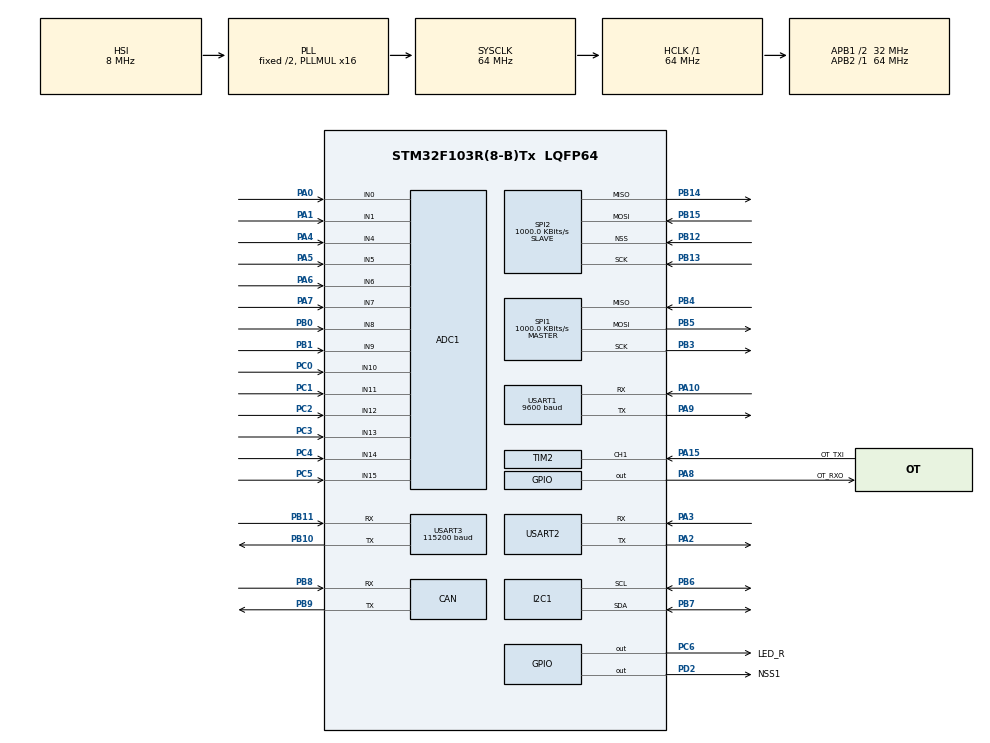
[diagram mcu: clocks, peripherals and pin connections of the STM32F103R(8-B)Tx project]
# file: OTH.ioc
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ADC1.Channel-0\#ChannelRegularConversion=ADC_CHANNEL_0
ADC1.ContinuousConvMode=DISABLE
ADC1.DataAlign=ADC_DATAALIGN_RIGHT
ADC1.DiscontinuousConvMode=DISABLE
ADC1.EnableAnalogWatchDog=false
ADC1.EnableRegularConversion=ENABLE
ADC1.ExternalTrigConv=ADC_SOFTWARE_START
ADC1.InjNumberOfConversion=0
ADC1.NbrOfConversion=1
ADC1.NbrOfConversionFlag=1
ADC1.Rank-0\#ChannelRegularConversion=1
ADC1.SamplingTime-0\#ChannelRegularConversion=ADC_SAMPLETIME_1CYCLE_5
ADC1.ScanConvMode=ADC_SCAN_DISABLE
ADC1.master=1
CAN.BS1=CAN_BS1_1TQ
CAN.BS2=CAN_BS2_1TQ
CAN.CalculateTimeBit=1500
CAN.CalculateTimeQuantum=500.0
Dma.Request0=USART3_TX
Dma.Request1=USART1_TX
Dma.Request2=USART1_RX
Dma.Request3=USART3_RX
Dma.USART1_RX.2.Direction=DMA_PERIPH_TO_MEMORY
Dma.USART1_RX.2.Instance=DMA1_Channel5
Dma.USART1_RX.2.MemDataAlignment=DMA_MDATAALIGN_BYTE
Dma.USART1_RX.2.MemInc=DMA_MINC_ENABLE
Dma.USART1_RX.2.Mode=DMA_NORMAL
Dma.USART1_RX.2.PeriphDataAlignment=DMA_PDATAALIGN_BYTE
Dma.USART1_RX.2.PeriphInc=DMA_PINC_DISABLE
Dma.USART1_RX.2.Priority=DMA_PRIORITY_LOW
Dma.USART1_TX.1.Direction=DMA_MEMORY_TO_PERIPH
Dma.USART1_TX.1.Instance=DMA1_Channel4
Dma.USART1_TX.1.MemDataAlignment=DMA_MDATAALIGN_BYTE
Dma.USART1_TX.1.MemInc=DMA_MINC_ENABLE
Dma.USART1_TX.1.Mode=DMA_NORMAL
Dma.USART1_TX.1.PeriphDataAlignment=DMA_PDATAALIGN_BYTE
Dma.USART1_TX.1.PeriphInc=DMA_PINC_DISABLE
Dma.USART1_TX.1.Priority=DMA_PRIORITY_LOW
Dma.USART3_RX.3.Direction=DMA_PERIPH_TO_MEMORY
Dma.USART3_RX.3.Instance=DMA1_Channel3
Dma.USART3_RX.3.MemDataAlignment=DMA_MDATAALIGN_BYTE
Dma.USART3_RX.3.MemInc=DMA_MINC_ENABLE
Dma.USART3_RX.3.Mode=DMA_NORMAL
Dma.USART3_RX.3.PeriphDataAlignment=DMA_PDATAALIGN_BYTE
Dma.USART3_RX.3.PeriphInc=DMA_PINC_DISABLE
Dma.USART3_RX.3.Priority=DMA_PRIORITY_LOW
Dma.USART3_TX.0.Direction=DMA_MEMORY_TO_PERIPH
Dma.USART3_TX.0.Instance=DMA1_Channel2
Dma.USART3_TX.0.MemDataAlignment=DMA_MDATAALIGN_BYTE
Dma.USART3_TX.0.MemInc=DMA_MINC_ENABLE
Dma.USART3_TX.0.Mode=DMA_NORMAL
Dma.USART3_TX.0.PeriphDataAlignment=DMA_PDATAALIGN_BYTE
Dma.USART3_TX.0.PeriphInc=DMA_PINC_DISABLE
Dma.USART3_TX.0.Priority=DMA_PRIORITY_LOW
Mcu.Family=STM32F1
Mcu.Name=STM32F103R(8-B)Tx
Mcu.Package=LQFP64
NVIC.DMA1_Channel2_IRQn=true\:0\:0\:false\:false\:true\:false
NVIC.DMA1_Channel3_IRQn=true\:0\:0\:false\:false\:true\:false
NVIC.DMA1_Channel4_IRQn=true\:0\:0\:false\:false\:true\:false
NVIC.DMA1_Channel5_IRQn=true\:0\:0\:false\:false\:true\:false
NVIC.PriorityGroup=NVIC_PRIORITYGROUP_4
NVIC.SPI1_IRQn=true\:0\:0\:false\:false\:true\:true
NVIC.SPI2_IRQn=true\:0\:0\:false\:false\:true\:true
NVIC.TIM2_IRQn=true\:0\:0\:false\:false\:true\:true
NVIC.USART1_IRQn=true\:0\:0\:false\:false\:true\:true
NVIC.USART3_IRQn=true\:0\:0\:false\:false\:true\:true
PA0-WKUP.Signal=ADCx_IN0
PA1.Signal=ADCx_IN1
PA10.Mode=Asynchronous
PA10.Signal=USART1_RX
PA13.Mode=Serial_Wire
PA13.Signal=SYS_JTMS-SWDIO
PA14.Mode=Serial_Wire
PA14.Signal=SYS_JTCK-SWCLK
PA15.GPIO_Label=OT_TXI
PA15.Signal=S_TIM2_CH1_ETR
PA2.Mode=Asynchronous
PA2.Signal=USART2_TX
PA3.Mode=Asynchronous
PA3.Signal=USART2_RX
PA4.Signal=ADCx_IN4
PA5.Signal=ADCx_IN5
PA6.Signal=ADCx_IN6
PA7.Signal=ADCx_IN7
PA8.GPIO_Label=OT_RXO
PA8.Signal=GPIO_Output
PA9.Mode=Asynchronous
PA9.Signal=USART1_TX
PB0.Signal=ADCx_IN8
PB1.Signal=ADCx_IN9
PB10.Mode=Asynchronous
PB10.Signal=USART3_TX
PB11.Mode=Asynchronous
PB11.Signal=USART3_RX
PB12.Mode=NSS_Signal_Hard_Input
PB12.Signal=SPI2_NSS
PB13.Mode=Full_Duplex_Slave
PB13.Signal=SPI2_SCK
PB14.Mode=Full_Duplex_Slave
PB14.Signal=SPI2_MISO
PB15.Mode=Full_Duplex_Slave
PB15.Signal=SPI2_MOSI
PB3.Mode=Full_Duplex_Master
PB3.Signal=SPI1_SCK
PB4.Mode=Full_Duplex_Master
PB4.Signal=SPI1_MISO
PB5.Mode=Full_Duplex_Master
PB5.Signal=SPI1_MOSI
PB6.Mode=I2C
PB6.Signal=I2C1_SCL
PB7.Mode=I2C
PB7.Signal=I2C1_SDA
PB8.Mode=Master
PB8.Signal=CAN_RX
PB9.Mode=Master
PB9.Signal=CAN_TX
PC0.Signal=ADCx_IN10
PC1.Signal=ADCx_IN11
PC2.Signal=ADCx_IN12
PC3.Signal=ADCx_IN13
PC4.Signal=ADCx_IN14
PC5.Signal=ADCx_IN15
PC6.GPIO_Label=LED_R
PC6.Signal=GPIO_Output
PD2.GPIO_Label=NSS1
PD2.Signal=GPIO_Output
ProjectManager.HeapSize=0x200
ProjectManager.StackSize=0x400
ProjectManager.TargetToolchain=TrueSTUDIO
RCC.ADCPresc=RCC_ADCPCLK2_DIV6
RCC.AHBFreq_Value=64000000
RCC.APB1CLKDivider=RCC_HCLK_DIV2
RCC.APB1Freq_Value=32000000
RCC.APB1TimFreq_Value=64000000
RCC.APB2Freq_Value=64000000
RCC.APB2TimFreq_Value=64000000
RCC.HCLKFreq_Value=64000000
RCC.PLLMUL=RCC_PLL_MUL16
RCC.SYSCLKFreq_VALUE=64000000
RCC.SYSCLKSource=RCC_SYSCLKSOURCE_PLLCLK
RCC.USBFreq_Value=64000000
SH.ADCx_IN0.0=ADC1_IN0,IN0
SH.ADCx_IN1.0=ADC1_IN1,IN1
SH.ADCx_IN10.0=ADC1_IN10,IN10
SH.ADCx_IN11.0=ADC1_IN11,IN11
SH.ADCx_IN12.0=ADC1_IN12,IN12
SH.ADCx_IN13.0=ADC1_IN13,IN13
SH.ADCx_IN14.0=ADC1_IN14,IN14
SH.ADCx_IN15.0=ADC1_IN15,IN15
SH.ADCx_IN4.0=ADC1_IN4,IN4
SH.ADCx_IN5.0=ADC1_IN5,IN5
SH.ADCx_IN6.0=ADC1_IN6,IN6
SH.ADCx_IN7.0=ADC1_IN7,IN7
SH.ADCx_IN8.0=ADC1_IN8,IN8
SH.ADCx_IN9.0=ADC1_IN9,IN9
SH.S_TIM2_CH1_ETR.0=TIM2_CH1,Input_Capture1_from_TI1
SH.S_TIM2_CH1_ETR.1=TIM2_CH1,Input_Capture2_from_TI1
SPI1.BaudRatePrescaler=SPI_BAUDRATEPRESCALER_64
SPI1.CalculateBaudRate=1000.0 KBits/s
SPI1.Direction=SPI_DIRECTION_2LINES
SPI1.Mode=SPI_MODE_MASTER
SPI1.VirtualType=VM_MASTER
SPI2.BaudRatePrescaler=SPI_BAUDRATEPRESCALER_32
SPI2.CalculateBaudRate=1000.0 KBits/s
SPI2.Direction=SPI_DIRECTION_2LINES
SPI2.Mode=SPI_MODE_SLAVE
SPI2.VirtualNSS=VM_NSSHARD
SPI2.VirtualType=VM_SLAVE
TIM2.Channel-Input_Capture1_from_TI1=TIM_CHANNEL_1
TIM2.Channel-Input_Capture2_from_TI1=TIM_CHANNEL_2
TIM2.ICPolarity_CH2=TIM_INPUTCHANNELPOLARITY_FALLING
TIM2.Period=900
TIM2.Prescaler=64000
TIM2.TIM_MasterOutputTrigger=TIM_TRGO_RESET
TIM4.AutoReloadPreload=TIM_AUTORELOAD_PRELOAD_DISABLE
TIM4.Period=65000
TIM4.Prescaler=32
USART1.BaudRate=9600
USART1.VirtualMode=VM_ASYNC
USART2.VirtualMode=VM_ASYNC
USART3.BaudRate=115200
USART3.VirtualMode=VM_ASYNC
VP_TIM2_VS_ClockSourceINT.Mode=Internal
VP_TIM4_VS_ClockSourceINT.Mode=Internal
board=OTH

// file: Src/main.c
/**
 ******************************************************************************
 * @file           : main.c
 * @brief          : Main program body
 ******************************************************************************
 ** This notice applies to any and all portions of this file
 * that are not between comment pairs USER CODE BEGIN and
 * USER CODE END. Other portions of this file, whether
 * inserted by the user or by software development tools
 * are owned by their respective copyright owners.
 *
 * COPYRIGHT(c) 2018 STMicroelectronics
 *
 * Redistribution and use in source and binary forms, with or without modification,
 * are permitted provided that the following conditions are met:
 *   1. Redistributions of source code must retain the above copyright notice,
 *      this list of conditions and the following disclaimer.
 *   2. Redistributions in binary form must reproduce the above copyright notice,
 *      this list of conditions and the following disclaimer in the documentation
 *      and/or other materials provided with the distribution.
 *   3. Neither the name of STMicroelectronics nor the names of its contributors
 *      may be used to endorse or promote products derived from this software
 *      without specific prior written permission.
 *
 * THIS SOFTWARE IS PROVIDED BY THE COPYRIGHT HOLDERS AND CONTRIBUTORS "AS IS"
 * AND ANY EXPRESS OR IMPLIED WARRANTIES, INCLUDING, BUT NOT LIMITED TO, THE
 * IMPLIED WARRANTIES OF MERCHANTABILITY AND FITNESS FOR A PARTICULAR PURPOSE ARE
 * DISCLAIMED. IN NO EVENT SHALL THE COPYRIGHT HOLDER OR CONTRIBUTORS BE LIABLE
 * FOR ANY DIRECT, INDIRECT, INCIDENTAL, SPECIAL, EXEMPLARY, OR CONSEQUENTIAL
 * DAMAGES (INCLUDING, BUT NOT LIMITED TO, PROCUREMENT OF SUBSTITUTE GOODS OR
 * SERVICES; LOSS OF USE, DATA, OR PROFITS; OR BUSINESS INTERRUPTION) HOWEVER
 * CAUSED AND ON ANY THEORY OF LIABILITY, WHETHER IN CONTRACT, STRICT LIABILITY,
 * OR TORT (INCLUDING NEGLIGENCE OR OTHERWISE) ARISING IN ANY WAY OUT OF THE USE
 * OF THIS SOFTWARE, EVEN IF ADVISED OF THE POSSIBILITY OF SUCH DAMAGE.
 *
 ******************************************************************************
 */
#include "main.h"
#include "stm32f1xx_hal.h"

/* USER CODE BEGIN Includes */
#include <stdbool.h>
#include "OT.h"
#include "DS18B20.h"
#include "RPi.h"
#include "sim800l.h"
#include "ADC.h"
#include <string.h>
/* USER CODE END Includes */

ADC_HandleTypeDef hadc1;

CAN_HandleTypeDef hcan;

I2C_HandleTypeDef hi2c1;

SPI_HandleTypeDef hspi1;
SPI_HandleTypeDef hspi2;

TIM_HandleTypeDef htim2;
TIM_HandleTypeDef htim4;

UART_HandleTypeDef huart1;
UART_HandleTypeDef huart2;
UART_HandleTypeDef huart3;
DMA_HandleTypeDef hdma_usart1_tx;
DMA_HandleTypeDef hdma_usart1_rx;
DMA_HandleTypeDef hdma_usart3_tx;
DMA_HandleTypeDef hdma_usart3_rx;

/* USER CODE BEGIN PV */
//#define NO_RPI
//#define NO_GSM
//#define NO_OT

//#define OT_ONLY
uint32_t micros;

//uint8_t sim_tx[10];
//uint8_t sim_rx[10];
/* Private variables ---------------------------------------------------------*/

/*int quality = 0;
 const char *a[10] = {
 "AT",
 "AT+CSQ",
 "ATI",
 "AT+CBC"
 };*/

/* USER CODE END PV */

void SystemClock_Config(void);
static void MX_GPIO_Init(void);
static void MX_DMA_Init(void);
static void MX_ADC1_Init(void);
static void MX_CAN_Init(void);
static void MX_I2C1_Init(void);
static void MX_SPI1_Init(void);
static void MX_SPI2_Init(void);
static void MX_USART1_UART_Init(void);
static void MX_USART2_UART_Init(void);
static void MX_USART3_UART_Init(void);
static void MX_TIM4_Init(void);
static void MX_TIM2_Init(void);

/* USER CODE BEGIN PFP */
/* Private function prototypes -----------------------------------------------*/

/* USER CODE END PFP */

/* USER CODE BEGIN 0 */
//void HAL_GPIO_EXTI_Callback(uint16_t GPIO_Pin){
/*if(GPIO_Pin== GPIO_PIN_15 && ext){
 //HAL_GPIO_TogglePin(LED_R_GPIO_Port, LED_R_Pin);
 ot.rx_ext.raw = (ot.rx_ext.raw << 1) | ~HAL_GPIO_ReadPin(OT_TXI_GPIO_Port,OT_TXI_Pin);
 }*/
//}
/*void HAL_SPI_RxCpltCallback(SPI_HandleTypeDef *hspi)
 {
 if (hspi->Instance==SPI2){
 //HAL_GPIO_TogglePin(LED_R_GPIO_Port, LED_R_Pin);

 //RPi_SPI.rxed =1;

 //HAL_SPI_
 HAL_SPI_Receive_IT(&hspi2, RPi_SPI.rx_buff, 3);
 //HAL_SPI_Transmit_IT(&hspi2, &RPi_SPI.tx_buff,  2);
 }
 }

 void HAL_SPI_TxCpltCallback(SPI_HandleTypeDef *hspi)
 {
 if (hspi->Instance==SPI2){
 HAL_GPIO_TogglePin(LED_R_GPIO_Port, LED_R_Pin);

 //RPi_SPI.rxed =1;

 //HAL_SPI_
 HAL_SPI_Receive_IT(&hspi2, RPi_SPI.rx_buff, 3);

 }
 }*/
void HAL_TIM_PeriodElapsedCallback(TIM_HandleTypeDef *htim) {
	if (htim->Instance == TIM4) //check if the interrupt comes from TIM4
	{
		micros++;
	}
	if (htim->Instance == TIM2) //check if the interrupt comes from TIM1
	{
		rised = true;
		//stateChanged=true;
		//readResponseInProgress = false;
	}
}
void HAL_TIM_IC_CaptureCallback(TIM_HandleTypeDef *htim) {
	if (htim->Instance == TIM2) //check if the interrupt comes from TIM1
	{
#ifndef NO_OT
		if (htim->Channel == HAL_TIM_ACTIVE_CHANNEL_1) {
			//risedCount = HAL_TIM_ReadCapturedValue(htim, TIM_CHANNEL_1); //TIM2->CCR1;
			//HAL_GPIO_TogglePin(LED_R_GPIO_Port, LED_R_Pin);
			rised = true;
			//stateChanged = true;
			ttime[swIndex] = HAL_TIM_ReadCapturedValue(htim, TIM_CHANNEL_1);
			rf[swIndex] = 1;
			//arrF[swIndex] = 0;
		}
		if (htim->Channel == HAL_TIM_ACTIVE_CHANNEL_2) {
			//stateChanged = true;
			ttime[swIndex] = HAL_TIM_ReadCapturedValue(htim, TIM_CHANNEL_2);
			rf[swIndex] = 0;
			//arrR[swIndex] = 0;
		}
		if(swIndex<64-1)
			swIndex++;
#endif
	}
}

void HAL_UART_RxCpltCallback(UART_HandleTypeDef *huart) {
	if (huart->Instance == USART3)
		RPiRXRoute();
	if (huart->Instance == USART1)
		checkUpdate();
}
//void HAL_DMA

void HAL_SYSTICK_Callback(void) {

	//hdma_usart1_rx.State==HAL_DMA_STATE_READY;
	//int index=strstr(gprs.RX,gprs.TX)-gprs.RX;
	/*char* str2;
	 strcpy (str2,gprs.TX);
	 if(strpos(gprs.RX,str2,0)>=0)
	 HAL_GPIO_TogglePin(LED_R_GPIO_Port, LED_R_Pin);*/

//	if(strlen(gprs.RX)>0){
//		char * found = strstr(gprs.RX,"OK"); /* should return 0x18 */
//		if (found != NULL)                     /* strstr returns NULL if item not found */
//		{
//		  int index = found - gprs.RX;          /* index is 8 */
//											   /* source[8] gets you "i" */
//		  HAL_GPIO_TogglePin(LED_R_GPIO_Port, LED_R_Pin);
//		  gprs.waitForResponse = false;
//
//		  //gprs.RX = "";
//		  gprs.index++;
//		  if(gprs.index>5)
//			  gprs.index=0;
//
//		  if(strpos(gprs.RX,"+COPS?",0)>0){
//			  HAL_GPIO_TogglePin(LED_R_GPIO_Port, LED_R_Pin);
//			  //printf("+CSQ");
//			  //char *token = strtok(gprs.RX, "+CSQ: ");
//			 // quality = strtol(gprs.RX, ',', 10);
//		  }
//		  gprs.RX = "";
//		  //strcpy(gprs.TX,a[gprs.index]);
//		  switch(gprs.index){
//		  case 0:
//			  gprs.TX = "AT\r\n";
//			  break;
//		  case 1:
//			  gprs.TX = "AT+CFUN=1\r\n";
//			  break;
//		  case 2:
//			  gprs.TX = "AT+CSQ\r\n";
//			  break;
//		  case 3:
//			  gprs.TX = "AT+CREG=1\r\n";
//			  break;
//		  case 4:
//			  gprs.TX = "AT+CREG?\r\n";
//			  break;
//		  case 5:
//			  gprs.TX = "AT+COPS?\r\n";
//			  break;
//		  }
//		  gprs.transmitRequered = true;
//		}
//	}
	//strstr( gprs.RX, "in" );
	//if(index>=0)
#ifndef NO_GSM
	checkAT();
#endif
	if (HAL_GetTick() % 5000 == 0)
		OWTick();
#ifndef NO_OT
	/*if ((HAL_GetTick() % 300 == 0) && ot.complete && ot.granted) {
		ot.complete = false;
		ot.busy = false;
	}*/
#endif

	if (HAL_GetTick() % 2000 == 0){
		//gprs.specificRequest = true;
		//gprs.subds = 0;

		//OTRequest(OT_MSG_TYPE_M_READ_DATA,OTID_SConfig,0);
		/*if(!OTRequestComplete())
			OTRequest(OT_MSG_TYPE_M_READ_DATA,OTID_SConfig,0);
		else
			HAL_GPIO_TogglePin(LED_R_GPIO_Port, LED_R_Pin);*/
	}

}
/* USER CODE END 0 */

int main(void) {
	/* USER CODE BEGIN 1 */
	//uint8_t rx[16];
	//uint8_t i = 0;
	//uint16_t tt=0;
	//int Temp;
	//uint32_t re;
	//int index;
	/* USER CODE END 1 */

	/* MCU Configuration----------------------------------------------------------*/

	/* Reset of all peripherals, Initializes the Flash interface and the Systick. */
	HAL_Init();

	/* Configure the system clock */
	SystemClock_Config();

	/* Initialize all configured peripherals */
	MX_GPIO_Init();
	MX_DMA_Init();
	MX_ADC1_Init();
	MX_CAN_Init();
	MX_I2C1_Init();
	MX_SPI1_Init();
	MX_SPI2_Init();
	MX_USART1_UART_Init();
	MX_USART2_UART_Init();
	MX_USART3_UART_Init();
	MX_TIM4_Init();
	MX_TIM2_Init();
	/* USER CODE BEGIN 2 */

	micros = 0;

	//HAL_TIM_Base_Stop_IT(&htim4);

	initADC();
#ifndef NO_RPI
	RPiInit();
#endif
	OWInit();
#ifndef NO_GSM
	initAT();
#endif
#ifndef NO_OT
	initOT();
#endif
	activateBoiler();

	//HAL_SPI_Receive_IT(&hspi2, RPi_SPI.rx_buff, 3);

//  HAL_UART_Receive_IT(&huart1,&gprs.rx_buff,1);
	/* gprs.RX = "";
	 gprs.transmitRequered = false;
	 gprs.waitForResponse = false;*/
	/*RPi_SPI.rxed = 0;

	 RPi_SPI.tx_buff[0] = 0x0A;b
	 RPi_SPI.tx_buff[1] = 0x55;
	 RPi_SPI.tx_buff[2] = 0x0F;*/
	//HAL_SPI_
	//temp.TransmitReceive = true;
	//if( temp.TransmitReceive ){
	/* temp.busy = true;
	 OWTransmit();//HAL_UART_Transmit(&huart2,&convert_T,16,5000);
	 temp.TransmitReceive = false;
	 // }else{
	 HAL_Delay(200);

	 OWReceive();*/

	//temp.TransmitReceive = true;
	//}
	//OpenTherm init
	//FLASH MEMORY Write/Read
	/* HAL_FLASH_Unlock();
	 HAL_FLASH_Program(FLASH_TYPEPROGRAM_WORD,0x08010000,0xAAAAAAAA);
	 HAL_FLASH_Lock();*/
	//uint32_t counter2 = *(__IO uint32_t *) 0x08010004;
	//counter2;
	HAL_GPIO_TogglePin(LED_R_GPIO_Port, LED_R_Pin);

	/*frame.raw[0] = 2;
	 frame.raw[2] = 0xAA;
	 frame.frame.data[0];
	 frame.frame.address;*/
//  gprs.index=0;
//  gprs.readIndex=0;
//
//  gprs.TX = "AT\r\n";
//  gprs.transmitRequered = true;
//  gprs.waitForResponse = true;
	/*while(gprs.waitForResponse){

	 }

	 gprs.TX = "AT\r\n";
	 gprs.transmitRequered = true;
	 gprs.waitForResponse = true;
	 while(gprs.waitForResponse){

	 }*/
//  HAL_UART_Transmit(&huart1,gprs.TX,strlen(gprs.TX),5000);
//  HAL_Delay(3000);
	/*gprs.TX = "AT+CREG?\r";
	 HAL_UART_Transmit(&huart1,gprs.TX,strlen(gprs.TX),5000);
	 HAL_Delay(3000);*/

	/* gprs.TX = "AT+CMGF=1\r\n";
	 HAL_UART_Transmit(&huart1,gprs.TX,strlen(gprs.TX),5000);
	 HAL_Delay(3000);

	 gprs.TX = "AT+CMGS=\"+79063280423\"\r\n";
	 HAL_UART_Transmit(&huart1,gprs.TX,strlen(gprs.TX),5000);
	 HAL_Delay(1000);

	 gprs.TX = "msg\x1a";
	 HAL_UART_Transmit(&huart1,gprs.TX,strlen(gprs.TX),5000);
	 HAL_Delay(1000);*/
	/* USER CODE END 2 */

	/* Infinite loop */
	while (1) {

		/* USER CODE BEGIN 3 */
#ifndef NO_GSM
		sendQueue();
#endif
		OWRoute();
#ifndef NO_RPI
		RPiRoute();
#endif
		routeADC();
#ifndef NO_OT
		if (ot.granted)
			OTRoute();
#endif
		/*OWTransmit();//HAL_UART_Transmit(&huart2,&convert_T,16,5000);
		 temp.TransmitReceive = false;
		 // }else{
		 HAL_Delay(200);

		 OWReceive();*/

		/*if(gprs.transmitRequered){
		 //gprs.TX = "AT\r\n";

		 HAL_Delay(1000);
		 HAL_UART_Transmit(&huart1,gprs.TX,strlen(gprs.TX),5000);
		 gprs.transmitRequered = false;
		 gprs.waitForResponse = true;
		 }*/

		//HAL_Delay(1000);
		//RPi_SPI.tx_buff[2] = temp.raw;
		//RPi_SPI.tx_buff[0] = (uint8_t)(adc.rpi_3v3>>8);
		//RPi_SPI.tx_buff[1] = (uint8_t)adc.rpi_3v3;
		/*if(RPi_SPI.rxed == 1){
		 RPi_SPI.tx_buff[0] = 0x0A;
		 RPi_SPI.tx_buff[1] = 0x55;
		 RPi_SPI.tx_buff[2] = 0xF0;

		 //HAL_SPI_Receive_IT(&hspi2, , 3);
		 //RPi_SPI.rxed=0;

		 //HAL_SPI_Transmit_IT(&hspi2, &RPi_SPI.tx_buff,  3);

		 //HAL_SPI_Receive_IT(&hspi2, &RPi_SPI.rx_buff, 3);
		 //HAL_SPI_TransmitReceive_IT(&hspi2, &RPi_SPI.tx_buff,&RPi_SPI.rx_buff, 3);
		 }*/

		//parity = checkParity( ot.tx.raw ) == ot.tx.frame.PARITY;
		//if(parity)
		//HAL_GPIO_TogglePin(LED_R_GPIO_Port, LED_R_Pin);
		// HAL_Delay(300);
		//HAL_GPIO_TogglePin(LED_R_GPIO_Port, LED_R_Pin);
		//}
//	    OTCommon.index++;//}
//	    if(OTCommon.index>=OT_QUEUE_LENGTH)
//	    	OTCommon.index=0;
		//HAL_Delay(300);
		//if(htim4.==0)
		//HAL_GPIO_TogglePin(LED_R_GPIO_Port, LED_R_Pin);
		//
		/*while(1){
		 for (int index = 0; index < 500; index++)
		 delayMicros(1000);
		 HAL_GPIO_TogglePin(LED_R_GPIO_Port, LED_R_Pin);
		 for (int index = 0; index < 500; index++)
		 delayMicros(1000);
		 HAL_GPIO_TogglePin(LED_R_GPIO_Port, LED_R_Pin);
		 }*/
	}
	/* USER CODE END 3 */

}

void SystemClock_Config(void) {

	RCC_OscInitTypeDef RCC_OscInitStruct;
	RCC_ClkInitTypeDef RCC_ClkInitStruct;
	RCC_PeriphCLKInitTypeDef PeriphClkInit;

	/**Initializes the CPU, AHB and APB busses clocks
	 */
	RCC_OscInitStruct.OscillatorType = RCC_OSCILLATORTYPE_HSI;
	RCC_OscInitStruct.HSIState = RCC_HSI_ON;
	RCC_OscInitStruct.HSICalibrationValue = 16;
	RCC_OscInitStruct.PLL.PLLState = RCC_PLL_ON;
	RCC_OscInitStruct.PLL.PLLSource = RCC_PLLSOURCE_HSI_DIV2;
	RCC_OscInitStruct.PLL.PLLMUL = RCC_PLL_MUL16;
	if (HAL_RCC_OscConfig(&RCC_OscInitStruct) != HAL_OK) {
		_Error_Handler(__FILE__, __LINE__);
	}

	/**Initializes the CPU, AHB and APB busses clocks
	 */
	RCC_ClkInitStruct.ClockType = RCC_CLOCKTYPE_HCLK | RCC_CLOCKTYPE_SYSCLK
			| RCC_CLOCKTYPE_PCLK1 | RCC_CLOCKTYPE_PCLK2;
	RCC_ClkInitStruct.SYSCLKSource = RCC_SYSCLKSOURCE_PLLCLK;
	RCC_ClkInitStruct.AHBCLKDivider = RCC_SYSCLK_DIV1;
	RCC_ClkInitStruct.APB1CLKDivider = RCC_HCLK_DIV2;
	RCC_ClkInitStruct.APB2CLKDivider = RCC_HCLK_DIV1;

	if (HAL_RCC_ClockConfig(&RCC_ClkInitStruct, FLASH_LATENCY_2) != HAL_OK) {
		_Error_Handler(__FILE__, __LINE__);
	}

	PeriphClkInit.PeriphClockSelection = RCC_PERIPHCLK_ADC;
	PeriphClkInit.AdcClockSelection = RCC_ADCPCLK2_DIV6;
	if (HAL_RCCEx_PeriphCLKConfig(&PeriphClkInit) != HAL_OK) {
		_Error_Handler(__FILE__, __LINE__);
	}

	/**Configure the Systick interrupt time
	 */
	HAL_SYSTICK_Config(HAL_RCC_GetHCLKFreq() / 1000);

	/**Configure the Systick
	 */
	HAL_SYSTICK_CLKSourceConfig(SYSTICK_CLKSOURCE_HCLK);

	/* SysTick_IRQn interrupt configuration */
	HAL_NVIC_SetPriority(SysTick_IRQn, 0, 0);
}

/* ADC1 init function */
static void MX_ADC1_Init(void) {

	ADC_ChannelConfTypeDef sConfig;

	/**Common config
	 */
	hadc1.Instance = ADC1;
	hadc1.Init.ScanConvMode = ADC_SCAN_DISABLE;
	hadc1.Init.ContinuousConvMode = DISABLE;
	hadc1.Init.DiscontinuousConvMode = DISABLE;
	hadc1.Init.ExternalTrigConv = ADC_SOFTWARE_START;
	hadc1.Init.DataAlign = ADC_DATAALIGN_RIGHT;
	hadc1.Init.NbrOfConversion = 1;
	if (HAL_ADC_Init(&hadc1) != HAL_OK) {
		_Error_Handler(__FILE__, __LINE__);
	}

	/**Configure Regular Channel
	 */
	sConfig.Channel = ADC_CHANNEL_0;
	sConfig.Rank = ADC_REGULAR_RANK_1;
	sConfig.SamplingTime = ADC_SAMPLETIME_1CYCLE_5;
	if (HAL_ADC_ConfigChannel(&hadc1, &sConfig) != HAL_OK) {
		_Error_Handler(__FILE__, __LINE__);
	}

}

/* CAN init function */
static void MX_CAN_Init(void) {

	hcan.Instance = CAN1;
	hcan.Init.Prescaler = 16;
	hcan.Init.Mode = CAN_MODE_NORMAL;
	hcan.Init.SJW = CAN_SJW_1TQ;
	hcan.Init.BS1 = CAN_BS1_1TQ;
	hcan.Init.BS2 = CAN_BS2_1TQ;
	hcan.Init.TTCM = DISABLE;
	hcan.Init.ABOM = DISABLE;
	hcan.Init.AWUM = DISABLE;
	hcan.Init.NART = DISABLE;
	hcan.Init.RFLM = DISABLE;
	hcan.Init.TXFP = DISABLE;
	if (HAL_CAN_Init(&hcan) != HAL_OK) {
		_Error_Handler(__FILE__, __LINE__);
	}

}

/* I2C1 init function */
static void MX_I2C1_Init(void) {

	hi2c1.Instance = I2C1;
	hi2c1.Init.ClockSpeed = 100000;
	hi2c1.Init.DutyCycle = I2C_DUTYCYCLE_2;
	hi2c1.Init.OwnAddress1 = 0;
	hi2c1.Init.AddressingMode = I2C_ADDRESSINGMODE_7BIT;
	hi2c1.Init.DualAddressMode = I2C_DUALADDRESS_DISABLE;
	hi2c1.Init.OwnAddress2 = 0;
	hi2c1.Init.GeneralCallMode = I2C_GENERALCALL_DISABLE;
	hi2c1.Init.NoStretchMode = I2C_NOSTRETCH_DISABLE;
	if (HAL_I2C_Init(&hi2c1) != HAL_OK) {
		_Error_Handler(__FILE__, __LINE__);
	}

}

/* SPI1 init function */
static void MX_SPI1_Init(void) {

	/* SPI1 parameter configuration*/
	hspi1.Instance = SPI1;
	hspi1.Init.Mode = SPI_MODE_MASTER;
	hspi1.Init.Direction = SPI_DIRECTION_2LINES;
	hspi1.Init.DataSize = SPI_DATASIZE_8BIT;
	hspi1.Init.CLKPolarity = SPI_POLARITY_LOW;
	hspi1.Init.CLKPhase = SPI_PHASE_1EDGE;
	hspi1.Init.NSS = SPI_NSS_SOFT;
	hspi1.Init.BaudRatePrescaler = SPI_BAUDRATEPRESCALER_64;
	hspi1.Init.FirstBit = SPI_FIRSTBIT_MSB;
	hspi1.Init.TIMode = SPI_TIMODE_DISABLE;
	hspi1.Init.CRCCalculation = SPI_CRCCALCULATION_DISABLE;
	hspi1.Init.CRCPolynomial = 10;
	if (HAL_SPI_Init(&hspi1) != HAL_OK) {
		_Error_Handler(__FILE__, __LINE__);
	}

}

/* SPI2 init function */
static void MX_SPI2_Init(void) {

	/* SPI2 parameter configuration*/
	hspi2.Instance = SPI2;
	hspi2.Init.Mode = SPI_MODE_SLAVE;
	hspi2.Init.Direction = SPI_DIRECTION_2LINES;
	hspi2.Init.DataSize = SPI_DATASIZE_8BIT;
	hspi2.Init.CLKPolarity = SPI_POLARITY_LOW;
	hspi2.Init.CLKPhase = SPI_PHASE_1EDGE;
	hspi2.Init.NSS = SPI_NSS_HARD_INPUT;
	hspi2.Init.BaudRatePrescaler = SPI_BAUDRATEPRESCALER_32;
	hspi2.Init.FirstBit = SPI_FIRSTBIT_MSB;
	hspi2.Init.TIMode = SPI_TIMODE_DISABLE;
	hspi2.Init.CRCCalculation = SPI_CRCCALCULATION_DISABLE;
	hspi2.Init.CRCPolynomial = 10;
	if (HAL_SPI_Init(&hspi2) != HAL_OK) {
		_Error_Handler(__FILE__, __LINE__);
	}

}

/* TIM2 init function */
static void MX_TIM2_Init(void) {

	TIM_ClockConfigTypeDef sClockSourceConfig;
	TIM_MasterConfigTypeDef sMasterConfig;
	TIM_IC_InitTypeDef sConfigIC;

	htim2.Instance = TIM2;
	htim2.Init.Prescaler = 64000;
	htim2.Init.CounterMode = TIM_COUNTERMODE_UP;
	htim2.Init.Period = 900;
	htim2.Init.ClockDivision = TIM_CLOCKDIVISION_DIV1;
	htim2.Init.AutoReloadPreload = TIM_AUTORELOAD_PRELOAD_DISABLE;
	if (HAL_TIM_Base_Init(&htim2) != HAL_OK) {
		_Error_Handler(__FILE__, __LINE__);
	}

	sClockSourceConfig.ClockSource = TIM_CLOCKSOURCE_INTERNAL;
	if (HAL_TIM_ConfigClockSource(&htim2, &sClockSourceConfig) != HAL_OK) {
		_Error_Handler(__FILE__, __LINE__);
	}

	if (HAL_TIM_IC_Init(&htim2) != HAL_OK) {
		_Error_Handler(__FILE__, __LINE__);
	}

	sMasterConfig.MasterOutputTrigger = TIM_TRGO_RESET;
	sMasterConfig.MasterSlaveMode = TIM_MASTERSLAVEMODE_DISABLE;
	if (HAL_TIMEx_MasterConfigSynchronization(&htim2, &sMasterConfig)
			!= HAL_OK) {
		_Error_Handler(__FILE__, __LINE__);
	}

	sConfigIC.ICPolarity = TIM_INPUTCHANNELPOLARITY_RISING;
	sConfigIC.ICSelection = TIM_ICSELECTION_DIRECTTI;
	sConfigIC.ICPrescaler = TIM_ICPSC_DIV1;
	sConfigIC.ICFilter = 0;
	if (HAL_TIM_IC_ConfigChannel(&htim2, &sConfigIC, TIM_CHANNEL_1) != HAL_OK) {
		_Error_Handler(__FILE__, __LINE__);
	}

	sConfigIC.ICPolarity = TIM_INPUTCHANNELPOLARITY_FALLING;
	sConfigIC.ICSelection = TIM_ICSELECTION_INDIRECTTI;
	if (HAL_TIM_IC_ConfigChannel(&htim2, &sConfigIC, TIM_CHANNEL_2) != HAL_OK) {
		_Error_Handler(__FILE__, __LINE__);
	}

}

/* TIM4 init function */
static void MX_TIM4_Init(void) {

	TIM_ClockConfigTypeDef sClockSourceConfig;
	TIM_MasterConfigTypeDef sMasterConfig;

	htim4.Instance = TIM4;
	htim4.Init.Prescaler = 32;
	htim4.Init.CounterMode = TIM_COUNTERMODE_UP;
	htim4.Init.Period = 65000;
	htim4.Init.ClockDivision = TIM_CLOCKDIVISION_DIV1;
	htim4.Init.AutoReloadPreload = TIM_AUTORELOAD_PRELOAD_DISABLE;
	if (HAL_TIM_Base_Init(&htim4) != HAL_OK) {
		_Error_Handler(__FILE__, __LINE__);
	}

	sClockSourceConfig.ClockSource = TIM_CLOCKSOURCE_INTERNAL;
	if (HAL_TIM_ConfigClockSource(&htim4, &sClockSourceConfig) != HAL_OK) {
		_Error_Handler(__FILE__, __LINE__);
	}

	sMasterConfig.MasterOutputTrigger = TIM_TRGO_RESET;
	sMasterConfig.MasterSlaveMode = TIM_MASTERSLAVEMODE_DISABLE;
	if (HAL_TIMEx_MasterConfigSynchronization(&htim4, &sMasterConfig)
			!= HAL_OK) {
		_Error_Handler(__FILE__, __LINE__);
	}

}

/* USART1 init function */
static void MX_USART1_UART_Init(void) {

	huart1.Instance = USART1;
	huart1.Init.BaudRate = 9600;
	huart1.Init.WordLength = UART_WORDLENGTH_8B;
	huart1.Init.StopBits = UART_STOPBITS_1;
	huart1.Init.Parity = UART_PARITY_NONE;
	huart1.Init.Mode = UART_MODE_TX_RX;
	huart1.Init.HwFlowCtl = UART_HWCONTROL_NONE;
	huart1.Init.OverSampling = UART_OVERSAMPLING_16;
	if (HAL_UART_Init(&huart1) != HAL_OK) {
		_Error_Handler(__FILE__, __LINE__);
	}

}

/* USART2 init function */
static void MX_USART2_UART_Init(void) {

	huart2.Instance = USART2;
	huart2.Init.BaudRate = 115200;
	huart2.Init.WordLength = UART_WORDLENGTH_8B;
	huart2.Init.StopBits = UART_STOPBITS_1;
	huart2.Init.Parity = UART_PARITY_NONE;
	huart2.Init.Mode = UART_MODE_TX_RX;
	huart2.Init.HwFlowCtl = UART_HWCONTROL_NONE;
	huart2.Init.OverSampling = UART_OVERSAMPLING_16;
	if (HAL_UART_Init(&huart2) != HAL_OK) {
		_Error_Handler(__FILE__, __LINE__);
	}

}

/* USART3 init function */
static void MX_USART3_UART_Init(void) {

	huart3.Instance = USART3;
	huart3.Init.BaudRate = 115200;
	huart3.Init.WordLength = UART_WORDLENGTH_8B;
	huart3.Init.StopBits = UART_STOPBITS_1;
	huart3.Init.Parity = UART_PARITY_NONE;
	huart3.Init.Mode = UART_MODE_TX_RX;
	huart3.Init.HwFlowCtl = UART_HWCONTROL_NONE;
	huart3.Init.OverSampling = UART_OVERSAMPLING_16;
	if (HAL_UART_Init(&huart3) != HAL_OK) {
		_Error_Handler(__FILE__, __LINE__);
	}

}

static void MX_DMA_Init(void) {
	/* DMA controller clock enable */
	__HAL_RCC_DMA1_CLK_ENABLE()
	;

	/* DMA interrupt init */
	/* DMA1_Channel2_IRQn interrupt configuration */
	HAL_NVIC_SetPriority(DMA1_Channel2_IRQn, 0, 0);
	HAL_NVIC_EnableIRQ(DMA1_Channel2_IRQn);
	/* DMA1_Channel3_IRQn interrupt configuration */
	HAL_NVIC_SetPriority(DMA1_Channel3_IRQn, 0, 0);
	HAL_NVIC_EnableIRQ(DMA1_Channel3_IRQn);
	/* DMA1_Channel4_IRQn interrupt configuration */
	HAL_NVIC_SetPriority(DMA1_Channel4_IRQn, 0, 0);
	HAL_NVIC_EnableIRQ(DMA1_Channel4_IRQn);
	/* DMA1_Channel5_IRQn interrupt configuration */
	HAL_NVIC_SetPriority(DMA1_Channel5_IRQn, 0, 0);
	HAL_NVIC_EnableIRQ(DMA1_Channel5_IRQn);

}

/** Configure pins as
 * Analog
 * Input
 * Output
 * EVENT_OUT
 * EXTI
 */
static void MX_GPIO_Init(void) {

	GPIO_InitTypeDef GPIO_InitStruct;

	/* GPIO Ports Clock Enable */
	__HAL_RCC_GPIOC_CLK_ENABLE()
	;
	__HAL_RCC_GPIOA_CLK_ENABLE()
	;
	__HAL_RCC_GPIOB_CLK_ENABLE()
	;
	__HAL_RCC_GPIOD_CLK_ENABLE()
	;

	/*Configure GPIO pin Output Level */
	HAL_GPIO_WritePin(LED_R_GPIO_Port, LED_R_Pin, GPIO_PIN_RESET);

	/*Configure GPIO pin Output Level */
	HAL_GPIO_WritePin(OT_RXO_GPIO_Port, OT_RXO_Pin, GPIO_PIN_RESET);

	/*Configure GPIO pin Output Level */
	HAL_GPIO_WritePin(NSS1_GPIO_Port, NSS1_Pin, GPIO_PIN_RESET);

	/*Configure GPIO pin : LED_R_Pin */
	GPIO_InitStruct.Pin = LED_R_Pin;
	GPIO_InitStruct.Mode = GPIO_MODE_OUTPUT_PP;
	GPIO_InitStruct.Speed = GPIO_SPEED_FREQ_LOW;
	HAL_GPIO_Init(LED_R_GPIO_Port, &GPIO_InitStruct);

	/*Configure GPIO pin : OT_RXO_Pin */
	GPIO_InitStruct.Pin = OT_RXO_Pin;
	GPIO_InitStruct.Mode = GPIO_MODE_OUTPUT_PP;
	GPIO_InitStruct.Speed = GPIO_SPEED_FREQ_LOW;
	HAL_GPIO_Init(OT_RXO_GPIO_Port, &GPIO_InitStruct);

	/*Configure GPIO pin : NSS1_Pin */
	GPIO_InitStruct.Pin = NSS1_Pin;
	GPIO_InitStruct.Mode = GPIO_MODE_OUTPUT_PP;
	GPIO_InitStruct.Speed = GPIO_SPEED_FREQ_LOW;
	HAL_GPIO_Init(NSS1_GPIO_Port, &GPIO_InitStruct);

}

void _Error_Handler(char *file, int line) {
	while (1) {
	}
}

/************************ (C) COPYRIGHT STMicroelectronics *****END OF FILE****/
